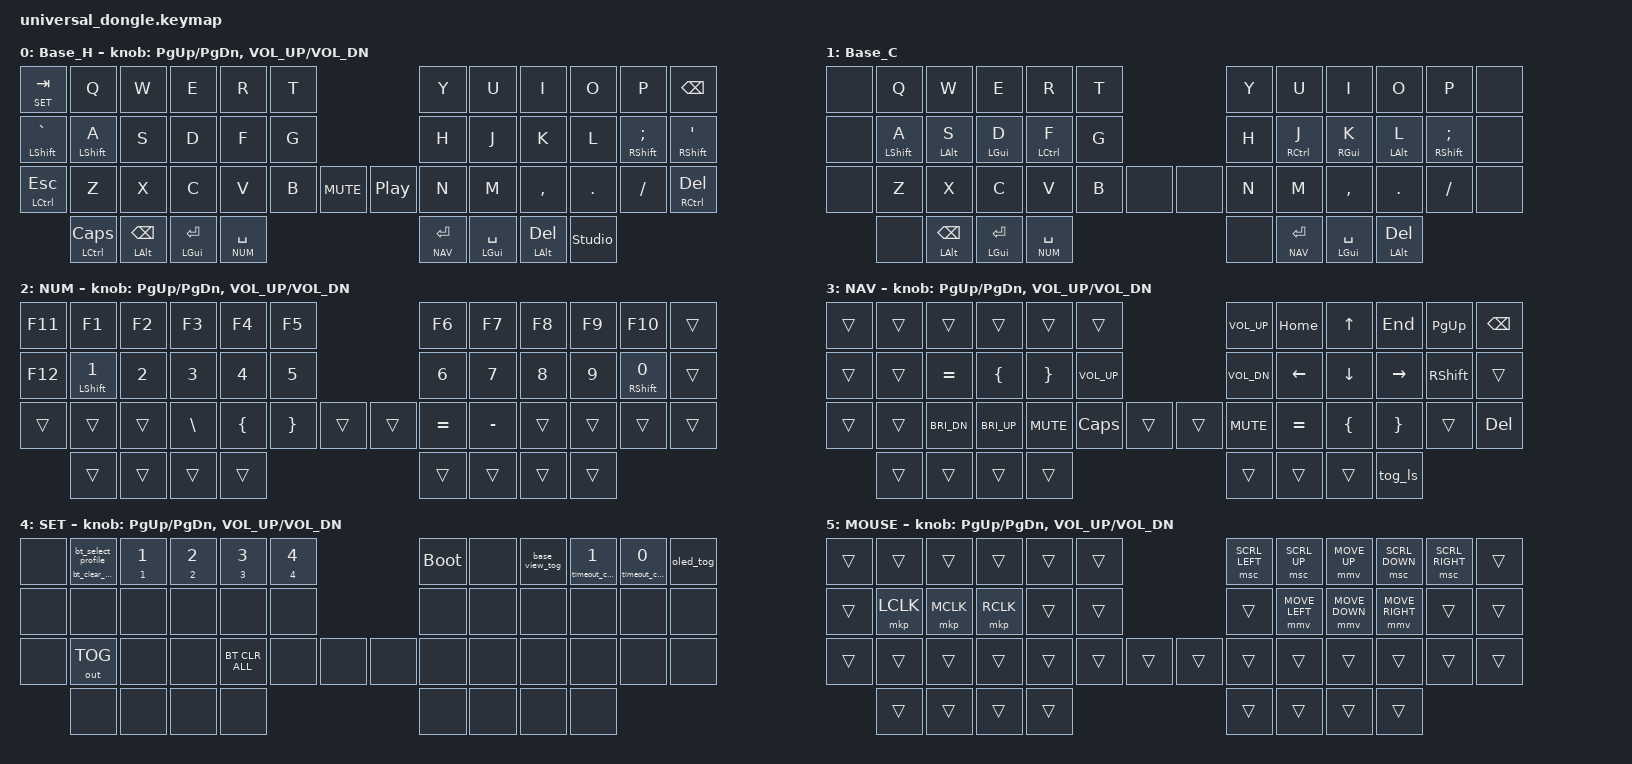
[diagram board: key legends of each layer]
#include <behaviors.dtsi>
#include <dt-bindings/zmk/keys.h>
#include <dt-bindings/zmk/bt.h>
#include <dt-bindings/zmk/outputs.h>
#include <dt-bindings/zmk/pointing.h>
#include "../common/studio_features.dtsi"
#include "../common/studio_runtime_layers.dtsi"

#define BASE_H     0
#define BASE_C     1
#define NUM        2
#define NAV        3
#define SET        4
#define MOUSE      5


// Global GUI <-> Alt layout shift.
// BASE is the former working MAC Base.
// Layout shift OFF = macOS; layout shift ON = Windows.
/ {
    layout_shift_map_gui_alt: layout_shift_map_gui_alt {
        compatible = "zmk,layout-shift-map";
        mappings = <
            LGUI  LALT  LAYOUT_SHIFT_OPTIONAL_ALL
            LALT  LGUI  LAYOUT_SHIFT_OPTIONAL_ALL
            RGUI  RALT  LAYOUT_SHIFT_OPTIONAL_ALL
            RALT  RGUI  LAYOUT_SHIFT_OPTIONAL_ALL
        >;
    };
};

&tog_ls {
    layout-maps = <&layout_shift_map_gui_alt>;
};

// Tune all Hana mod-tap keys for easier rolling/typing.
// Keep the 200 ms tapping term, but avoid hold-preferred's aggressive modifier activation.
&mt {
    flavor = "balanced";
    tapping-term-ms = <200>;
    quick-tap-ms = <175>;
    hold-trigger-key-positions = <
        0xffffffff 0xffffffff 0xffffffff 0xffffffff
        0xffffffff 0xffffffff 0xffffffff 0xffffffff
        0xffffffff 0xffffffff 0xffffffff 0xffffffff
        0xffffffff 0xffffffff 0xffffffff 0xffffffff
        0xffffffff 0xffffffff 0xffffffff 0xffffffff
        0xffffffff 0xffffffff 0xffffffff 0xffffffff
        0xffffffff 0xffffffff 0xffffffff 0xffffffff
        0xffffffff 0xffffffff 0xffffffff 0xffffffff
    >;
    runtime-editable;
    runtime-default-active;
    display-name = "Mod-Tap";
};

&lt {
    hold-trigger-key-positions = <
        0xffffffff 0xffffffff 0xffffffff 0xffffffff
        0xffffffff 0xffffffff 0xffffffff 0xffffffff
        0xffffffff 0xffffffff 0xffffffff 0xffffffff
        0xffffffff 0xffffffff 0xffffffff 0xffffffff
        0xffffffff 0xffffffff 0xffffffff 0xffffffff
        0xffffffff 0xffffffff 0xffffffff 0xffffffff
        0xffffffff 0xffffffff 0xffffffff 0xffffffff
        0xffffffff 0xffffffff 0xffffffff 0xffffffff
    >;
    runtime-editable;
    runtime-default-active;
    display-name = "Layer-Tap";
};

/ {
    macros {
        bt_select_profile: bt_select_profile {
            compatible = "zmk,behavior-macro-one-param";
            #binding-cells = <1>;
            bindings =
                <&macro_param_1to2>,
                <&bt BT_SEL MACRO_PLACEHOLDER>;
        };

        bt_clear_profile: bt_clear_profile {
            compatible = "zmk,behavior-macro-one-param";
            #binding-cells = <1>;
            wait-ms = <20>;
            bindings =
                <&macro_param_1to2>,
                <&bt BT_SEL MACRO_PLACEHOLDER>,
                <&bt BT_CLR>;
        };
    };

    behaviors {
        bt_profile: bt_profile {
            compatible = "zmk,behavior-hold-tap";
            #binding-cells = <2>;
            flavor = "tap-preferred";
            tapping-term-ms = <3000>;
            bindings = <&bt_clear_profile>, <&bt_select_profile>;
            hold-trigger-key-positions = <
                0xffffffff 0xffffffff 0xffffffff 0xffffffff
                0xffffffff 0xffffffff 0xffffffff 0xffffffff
                0xffffffff 0xffffffff 0xffffffff 0xffffffff
                0xffffffff 0xffffffff 0xffffffff 0xffffffff
                0xffffffff 0xffffffff 0xffffffff 0xffffffff
                0xffffffff 0xffffffff 0xffffffff 0xffffffff
                0xffffffff 0xffffffff 0xffffffff 0xffffffff
                0xffffffff 0xffffffff 0xffffffff 0xffffffff
            >;
            runtime-editable;
            runtime-default-active;
            display-name = "Bluetooth Profile";
        };

        oled_tog: oled_toggle {
            compatible = "zmk,behavior-oled-toggle";
            #binding-cells = <0>;
            display-name = "OLED Toggle";
        };

        base_view_tog: base_view_toggle {
            compatible = "zmk,behavior-base-view-toggle";
            #binding-cells = <0>;
            display-name = "BASE View Cycle";
        };

        timeout_cycle: timeout_cycle {
            compatible = "zmk,behavior-timeout-cycle";
            #binding-cells = <1>;
            display-name = "Timeout Cycle";
        };
    };
};

/ {
    behaviors {
        universal_switch: universal_switch {
            compatible = "zmk,behavior-universal-dongle-switch";
            #binding-cells = <1>;
            display-name = "Switch Keyboard Profile";
        };
    };

    combos {
        compatible = "zmk,combos";

        switch_to_chocofi {
            timeout-ms = <50>;
            key-positions = <1 10>;
            layers = <0 1 2 3 4 5 6 7 8 9 10 11 12 13>;
            bindings = <&universal_switch 2>;
        };

        switch_to_hana {
            timeout-ms = <50>;
            key-positions = <1 10>;
            layers = <0 1 2 3 4 5 6 7 8 9 10 11 12 13>;
            bindings = <&universal_switch 1>;
        };

        combo_studio_unlock_chocofi {
            timeout-ms = <50>;
            key-positions = <39 45>;
            layers = <5 6 7 12 13 14 15>;
            bindings = <&studio_unlock>;
        };

        /* Chocofi BASE_C view cycle: Z + / in the shared Hana-aligned
         * position map (positions 25 and 36). Keep this combo scoped to
         * BASE_C so it doesn't shadow Hana's existing SET-layer control.
         */
        combo_base_view_cycle_chocofi {
            timeout-ms = <50>;
            key-positions = <25 36>;
            layers = <1>;
            bindings = <&base_view_tog>;
        };
    };
};

&bt_profile_shared {
    hold-trigger-key-positions = <
        0xffffffff 0xffffffff 0xffffffff 0xffffffff
        0xffffffff 0xffffffff 0xffffffff 0xffffffff
        0xffffffff 0xffffffff 0xffffffff 0xffffffff
        0xffffffff 0xffffffff 0xffffffff 0xffffffff
        0xffffffff 0xffffffff 0xffffffff 0xffffffff
        0xffffffff 0xffffffff 0xffffffff 0xffffffff
        0xffffffff 0xffffffff 0xffffffff 0xffffffff
        0xffffffff 0xffffffff 0xffffffff 0xffffffff
    >;
};

/ {
    keymap {
        compatible = "zmk,keymap";

        // Shared layers follow the two profile-specific bases; keep IDs stable for routing.
        base_layer {
            display-name = "Base_H";
            sensor-bindings = <&inc_dec_kp PG_UP PG_DN &inc_dec_kp C_VOL_UP C_VOL_DN>;
            bindings = <
                &lt SET TAB  &kp Q              &kp W      &kp E      &kp R      &kp T                         &kp Y      &kp U      &kp I      &kp O      &kp P              &kp BSPC
                &mt LSHIFT GRAVE    &mt LSHIFT A       &kp S      &kp D      &kp F      &kp G                         &kp H      &kp J      &kp K      &kp L      &mt RSHIFT SEMI    &mt RSHIFT SQT
                &mt LCTRL ESC       &kp Z              &kp X      &kp C      &kp V      &kp B      &kp C_MUTE  &kp C_PP &kp N      &kp M      &kp COMMA  &kp DOT    &kp FSLH           &mt RCTRL DEL
                                      &mt LCTRL CAPS     &mt LALT BSPC        &mt LGUI RET &lt NUM SPACE                   &lt NAV RET &mt LGUI SPACE &mt LALT DEL &studio_unlock
            >;
        };

        chocofi_base_layer {
            display-name = "Base_C";
            bindings = <
                &none     &kp Q    &kp W    &kp E    &kp R    &kp T    &kp Y    &kp U    &kp I    &kp O    &kp P    &none
                &none     &mt LSHIFT A    &mt LALT S    &mt LGUI D    &mt LCTRL F    &kp G    &kp H    &mt RCTRL J    &mt RGUI K    &mt LEFT_ALT L    &mt RSHIFT SEMI    &none
                &none     &kp Z    &kp X    &kp C    &kp V    &kp B    &none     &none     &kp N    &kp M    &kp COMMA    &kp DOT    &kp FSLH    &none
                &none     &mt LALT BSPC    &mt LGUI RET    &lt NUM SPACE    &none    &lt NAV RET    &mt LGUI SPACE    &mt LALT DEL
            >;
        };

        num_layer {
            display-name = "NUM";
            sensor-bindings = <&inc_dec_kp PG_UP PG_DN &inc_dec_kp C_VOL_UP C_VOL_DN>;
            bindings = <
                &kp F11   &kp F1             &kp F2    &kp F3    &kp F4    &kp F5                      &kp F6     &kp F7     &kp F8     &kp F9     &kp F10            &trans
                &kp F12   &mt LSHIFT N1      &kp N2    &kp N3    &kp N4    &kp N5                      &kp N6     &kp N7     &kp N8     &kp N9     &mt RSHIFT N0     &trans
                &trans    &trans             &trans     &kp BSLH  &kp LBRC  &kp RBRC  &trans    &trans &kp EQUAL  &kp MINUS  &trans     &trans     &trans             &trans
                           &trans             &trans     &trans    &trans                              &trans      &trans      &trans     &trans
            >;
        };

        nav_layer {
            display-name = "NAV";
            sensor-bindings = <&inc_dec_kp PG_UP PG_DN &inc_dec_kp C_VOL_UP C_VOL_DN>;
            bindings = <
                &trans    &trans             &trans       &trans       &trans       &trans                        &kp C_VOL_UP  &kp HOME    &kp UP       &kp END      &kp PG_UP    &kp BSPC
                &trans    &trans             &kp EQUAL    &kp LBRC     &kp RBRC     &kp C_VOL_UP                  &kp C_VOL_DN  &kp LEFT    &kp DOWN     &kp RIGHT    &kp RSHIFT   &trans
                &trans    &trans             &kp C_BRI_DN &kp C_BRI_UP &kp C_MUTE  &kp CAPS    &trans    &trans &kp C_MUTE   &kp EQUAL   &kp LBRC     &kp RBRC     &trans       &kp DEL
                           &trans             &trans       &trans       &trans                                 &trans         &trans       &trans        &tog_ls
            >;
        };

        set_layer {
            display-name = "SET";
            sensor-bindings = <&inc_dec_kp PG_UP PG_DN &inc_dec_kp C_VOL_UP C_VOL_DN>;
            bindings = <
                &none     &bt_profile 0 0      &bt_profile 1 1  &bt_profile 2 2  &bt_profile 3 3  &bt_profile 4 4       &bootloader  &none  &base_view_tog  &timeout_cycle 1  &timeout_cycle 0  &oled_tog
                &none     &none               &none          &none          &none          &none                          &none        &none  &none  &none  &none  &none
                &none     &out OUT_TOG        &none          &none          &bt BT_CLR_ALL &none        &none    &none   &none        &none  &none  &none  &none  &none
                           &none               &none          &none          &none                                      &none        &none  &none  &none
            >;
        };


        mouse_layer {
            display-name = "MOUSE";
            sensor-bindings = <&inc_dec_kp PG_UP PG_DN &inc_dec_kp C_VOL_UP C_VOL_DN>;
            bindings = <
                &trans    &trans             &trans        &trans        &trans        &trans                         &msc SCRL_LEFT  &msc SCRL_UP    &mmv MOVE_UP    &msc SCRL_DOWN  &msc SCRL_RIGHT  &trans
                &trans    &mkp LCLK          &mkp MCLK     &mkp RCLK     &trans        &trans                         &trans          &mmv MOVE_LEFT &mmv MOVE_DOWN  &mmv MOVE_RIGHT &trans            &trans
                &trans    &trans             &trans        &trans        &trans        &trans       &trans    &trans  &trans          &trans          &trans          &trans          &trans            &trans
                           &trans             &trans        &trans        &trans                                  &trans          &trans          &trans          &trans
            >;
        };





        studio_runtime_layer_1 { status = "reserved"; };
        studio_runtime_layer_2 { status = "reserved"; };
        studio_runtime_layer_3 { status = "reserved"; };
        studio_runtime_layer_4 { status = "reserved"; };
        studio_runtime_layer_5 { status = "reserved"; };
        studio_runtime_layer_6 { status = "reserved"; };
        studio_runtime_layer_7 { status = "reserved"; };
        studio_runtime_layer_8 { status = "reserved"; };
    };
};
